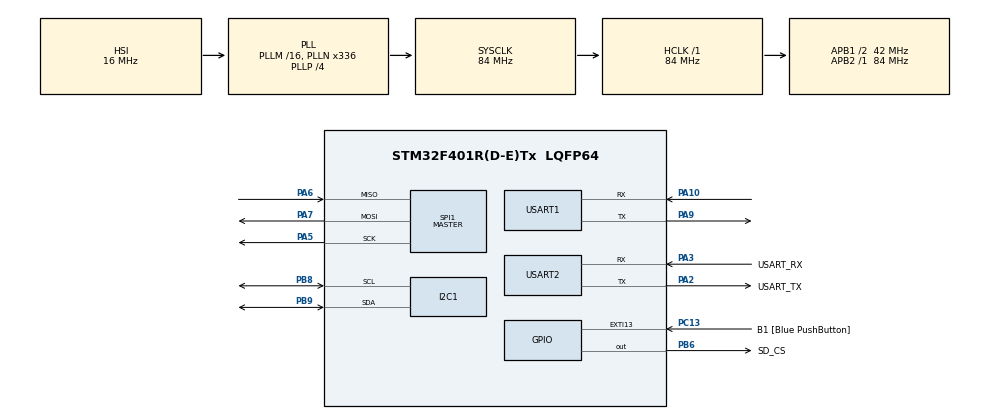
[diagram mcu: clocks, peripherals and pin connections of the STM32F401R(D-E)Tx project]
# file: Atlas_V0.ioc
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FREERTOS.Tasks01=AtlasTask,24,512,StartAtlasTask,Default,NULL,Dynamic,NULL,NULL;IMUTask,32,256,StartIMUTask,Default,NULL,Dynamic,NULL,NULL;LoggerTask,8,512,StartLoggerTask,Default,NULL,Dynamic,NULL,NULL
Mcu.Family=STM32F4
Mcu.Name=STM32F401R(D-E)Tx
Mcu.Package=LQFP64
NVIC.PriorityGroup=NVIC_PRIORITYGROUP_4
NVIC.USART2_IRQn=true\:5\:0\:false\:false\:true\:true\:true\:true\:true
PA10.Mode=Asynchronous
PA10.Signal=USART1_RX
PA13.GPIO_Label=TMS
PA13.Mode=Trace_Asynchronous_SW
PA13.Signal=SYS_JTMS-SWDIO
PA14.GPIO_Label=TCK
PA14.Mode=Trace_Asynchronous_SW
PA14.Signal=SYS_JTCK-SWCLK
PA2.GPIO_Label=USART_TX
PA2.GPIO_Mode=GPIO_MODE_AF_PP
PA2.GPIO_PuPd=GPIO_NOPULL
PA2.GPIO_Speed=GPIO_SPEED_FREQ_LOW
PA2.Mode=Asynchronous
PA2.Signal=USART2_TX
PA3.GPIO_Label=USART_RX
PA3.GPIO_Mode=GPIO_MODE_AF_PP
PA3.GPIO_PuPd=GPIO_NOPULL
PA3.GPIO_Speed=GPIO_SPEED_FREQ_LOW
PA3.Mode=Asynchronous
PA3.Signal=USART2_RX
PA5.Mode=Full_Duplex_Master
PA5.Signal=SPI1_SCK
PA6.Mode=Full_Duplex_Master
PA6.Signal=SPI1_MISO
PA7.Mode=Full_Duplex_Master
PA7.Signal=SPI1_MOSI
PA9.Mode=Asynchronous
PA9.Signal=USART1_TX
PB3.GPIO_Label=SWO
PB3.Mode=Trace_Asynchronous_SW
PB3.Signal=SYS_JTDO-SWO
PB6.GPIO_Label=SD_CS
PB6.PinState=GPIO_PIN_SET
PB6.Signal=GPIO_Output
PB8.Mode=I2C
PB8.Signal=I2C1_SCL
PB9.Mode=I2C
PB9.Signal=I2C1_SDA
PC13-ANTI_TAMP.GPIO_Label=B1 [Blue PushButton]
PC13-ANTI_TAMP.GPIO_ModeDefaultEXTI=GPIO_MODE_IT_FALLING
PC13-ANTI_TAMP.GPIO_PuPd=GPIO_NOPULL
PC13-ANTI_TAMP.Signal=GPXTI13
PC14-OSC32_IN.Mode=LSE-External-Oscillator
PC14-OSC32_IN.Signal=RCC_OSC32_IN
PC15-OSC32_OUT.Mode=LSE-External-Oscillator
PC15-OSC32_OUT.Signal=RCC_OSC32_OUT
PH0\ -\ OSC_IN.Mode=HSE-External-Clock-Source
PH0\ -\ OSC_IN.Signal=RCC_OSC_IN
PH1\ -\ OSC_OUT.Mode=HSE-External-Clock-Source
PH1\ -\ OSC_OUT.Signal=RCC_OSC_OUT
ProjectManager.HeapSize=0x200
ProjectManager.StackSize=0x400
ProjectManager.TargetToolchain=STM32CubeIDE
RCC.48MHZClocksFreq_Value=48000000
RCC.AHBFreq_Value=84000000
RCC.APB1CLKDivider=RCC_HCLK_DIV2
RCC.APB1Freq_Value=42000000
RCC.APB1TimFreq_Value=84000000
RCC.APB2Freq_Value=84000000
RCC.APB2TimFreq_Value=84000000
RCC.CortexFreq_Value=84000000
RCC.HCLKFreq_Value=84000000
RCC.HSE_VALUE=8000000
RCC.HSI_VALUE=16000000
RCC.PLLN=336
RCC.PLLP=RCC_PLLP_DIV4
RCC.PLLQ=7
RCC.SYSCLKFreq_VALUE=84000000
RCC.SYSCLKSource=RCC_SYSCLKSOURCE_PLLCLK
RCC.VCOOutputFreq_Value=336000000
SPI1.BaudRatePrescaler=SPI_BAUDRATEPRESCALER_256
SPI1.Direction=SPI_DIRECTION_2LINES
SPI1.Mode=SPI_MODE_MASTER
SPI1.VirtualType=VM_MASTER
USART1.VirtualMode=VM_ASYNC
USART2.VirtualMode=VM_ASYNC
VP_FATFS_VS_Generic.Mode=User_defined
VP_FREERTOS_VS_CMSIS_V2.Mode=CMSIS_V2
board=NUCLEO-F401RE

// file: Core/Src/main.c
/* USER CODE BEGIN Header */
/**
  ******************************************************************************
  * @file           : main.c
  * @brief          : Main program body
  ******************************************************************************
  * @attention
  *
  * Copyright (c) 2026 STMicroelectronics.
  * All rights reserved.
  *
  * This software is licensed under terms that can be found in the LICENSE file
  * in the root directory of this software component.
  * If no LICENSE file comes with this software, it is provided AS-IS.
  *
  ******************************************************************************
  */
/* USER CODE END Header */
#include "main.h"
#include "cmsis_os.h"
#include "fatfs.h"

/* USER CODE BEGIN Includes */
#include "atlas.h"
#include "imu.h"
#include "rtos_data.h"
#include "storage.h"
#include "telemetry.h"
#include <stdio.h>
#include "gps.h"
/* USER CODE END Includes */

I2C_HandleTypeDef hi2c1;

SPI_HandleTypeDef hspi1;

UART_HandleTypeDef huart1;
UART_HandleTypeDef huart2;

/* Definitions for AtlasTask */
osThreadId_t AtlasTaskHandle;
const osThreadAttr_t AtlasTask_attributes = {
  .name = "AtlasTask",
  .stack_size = 512 * 4,
  .priority = (osPriority_t) osPriorityNormal,
};
/* Definitions for IMUTask */
osThreadId_t IMUTaskHandle;
const osThreadAttr_t IMUTask_attributes = {
  .name = "IMUTask",
  .stack_size = 256 * 4,
  .priority = (osPriority_t) osPriorityAboveNormal,
};
/* Definitions for LoggerTask */
osThreadId_t LoggerTaskHandle;
const osThreadAttr_t LoggerTask_attributes = {
  .name = "LoggerTask",
  .stack_size = 512 * 4,
  .priority = (osPriority_t) osPriorityLow,
};
/* USER CODE BEGIN PV */
static IMU_Data rtos_imu_data;
/* USER CODE END PV */

void SystemClock_Config(void);
static void MX_GPIO_Init(void);
static void MX_USART2_UART_Init(void);
static void MX_I2C1_Init(void);
static void MX_SPI1_Init(void);
static void MX_USART1_UART_Init(void);
void StartAtlasTask(void *argument);
void StartIMUTask(void *argument);
void StartLoggerTask(void *argument);

int main(void)
{

  /* MCU Configuration--------------------------------------------------------*/

  /* Reset of all peripherals, Initializes the Flash interface and the Systick. */
  HAL_Init();

  /* Configure the system clock */
  SystemClock_Config();

  /* Initialize all configured peripherals */
  MX_GPIO_Init();
  MX_USART2_UART_Init();
  MX_I2C1_Init();
  MX_SPI1_Init();
  MX_FATFS_Init();
  MX_USART1_UART_Init();
  GPS_Init(&huart1);
  /* USER CODE BEGIN 2 */

  if (Atlas_Init(&hi2c1, &huart2) != HAL_OK)
  {
      Error_Handler();
  }

  /* USER CODE END 2 */

  /* Init scheduler */
  osKernelInitialize();

  /* Create the thread(s) */
  /* creation of AtlasTask */
  AtlasTaskHandle = osThreadNew(StartAtlasTask, NULL, &AtlasTask_attributes);

  /* creation of IMUTask */
  IMUTaskHandle = osThreadNew(StartIMUTask, NULL, &IMUTask_attributes);

  /* creation of LoggerTask */
  LoggerTaskHandle = osThreadNew(StartLoggerTask, NULL, &LoggerTask_attributes);

  /* Start scheduler */
  osKernelStart();

  /* We should never get here as control is now taken by the scheduler */

  /* Infinite loop */
  while (1)
  {

  }
}

void SystemClock_Config(void)
{
  RCC_OscInitTypeDef RCC_OscInitStruct = {0};
  RCC_ClkInitTypeDef RCC_ClkInitStruct = {0};

  /** Configure the main internal regulator output voltage
  */
  __HAL_RCC_PWR_CLK_ENABLE();
  __HAL_PWR_VOLTAGESCALING_CONFIG(PWR_REGULATOR_VOLTAGE_SCALE2);

  /** Initializes the RCC Oscillators according to the specified parameters
  * in the RCC_OscInitTypeDef structure.
  */
  RCC_OscInitStruct.OscillatorType = RCC_OSCILLATORTYPE_HSI;
  RCC_OscInitStruct.HSIState = RCC_HSI_ON;
  RCC_OscInitStruct.HSICalibrationValue = RCC_HSICALIBRATION_DEFAULT;
  RCC_OscInitStruct.PLL.PLLState = RCC_PLL_ON;
  RCC_OscInitStruct.PLL.PLLSource = RCC_PLLSOURCE_HSI;
  RCC_OscInitStruct.PLL.PLLM = 16;
  RCC_OscInitStruct.PLL.PLLN = 336;
  RCC_OscInitStruct.PLL.PLLP = RCC_PLLP_DIV4;
  RCC_OscInitStruct.PLL.PLLQ = 7;
  if (HAL_RCC_OscConfig(&RCC_OscInitStruct) != HAL_OK)
  {
    Error_Handler();
  }

  /** Initializes the CPU, AHB and APB buses clocks
  */
  RCC_ClkInitStruct.ClockType = RCC_CLOCKTYPE_HCLK|RCC_CLOCKTYPE_SYSCLK
                              |RCC_CLOCKTYPE_PCLK1|RCC_CLOCKTYPE_PCLK2;
  RCC_ClkInitStruct.SYSCLKSource = RCC_SYSCLKSOURCE_PLLCLK;
  RCC_ClkInitStruct.AHBCLKDivider = RCC_SYSCLK_DIV1;
  RCC_ClkInitStruct.APB1CLKDivider = RCC_HCLK_DIV2;
  RCC_ClkInitStruct.APB2CLKDivider = RCC_HCLK_DIV1;

  if (HAL_RCC_ClockConfig(&RCC_ClkInitStruct, FLASH_LATENCY_2) != HAL_OK)
  {
    Error_Handler();
  }
}

static void MX_I2C1_Init(void)
{

  hi2c1.Instance = I2C1;
  hi2c1.Init.ClockSpeed = 100000;
  hi2c1.Init.DutyCycle = I2C_DUTYCYCLE_2;
  hi2c1.Init.OwnAddress1 = 0;
  hi2c1.Init.AddressingMode = I2C_ADDRESSINGMODE_7BIT;
  hi2c1.Init.DualAddressMode = I2C_DUALADDRESS_DISABLE;
  hi2c1.Init.OwnAddress2 = 0;
  hi2c1.Init.GeneralCallMode = I2C_GENERALCALL_DISABLE;
  hi2c1.Init.NoStretchMode = I2C_NOSTRETCH_DISABLE;
  if (HAL_I2C_Init(&hi2c1) != HAL_OK)
  {
    Error_Handler();
  }

}

static void MX_SPI1_Init(void)
{

  /* SPI1 parameter configuration*/
  hspi1.Instance = SPI1;
  hspi1.Init.Mode = SPI_MODE_MASTER;
  hspi1.Init.Direction = SPI_DIRECTION_2LINES;
  hspi1.Init.DataSize = SPI_DATASIZE_8BIT;
  hspi1.Init.CLKPolarity = SPI_POLARITY_LOW;
  hspi1.Init.CLKPhase = SPI_PHASE_1EDGE;
  hspi1.Init.NSS = SPI_NSS_SOFT;
  hspi1.Init.BaudRatePrescaler = SPI_BAUDRATEPRESCALER_256;
  hspi1.Init.FirstBit = SPI_FIRSTBIT_MSB;
  hspi1.Init.TIMode = SPI_TIMODE_DISABLE;
  hspi1.Init.CRCCalculation = SPI_CRCCALCULATION_DISABLE;
  hspi1.Init.CRCPolynomial = 10;
  if (HAL_SPI_Init(&hspi1) != HAL_OK)
  {
    Error_Handler();
  }

}

static void MX_USART1_UART_Init(void)
{

  huart1.Instance = USART1;
  huart1.Init.BaudRate = 115200;
  huart1.Init.WordLength = UART_WORDLENGTH_8B;
  huart1.Init.StopBits = UART_STOPBITS_1;
  huart1.Init.Parity = UART_PARITY_NONE;
  huart1.Init.Mode = UART_MODE_TX_RX;
  huart1.Init.HwFlowCtl = UART_HWCONTROL_NONE;
  huart1.Init.OverSampling = UART_OVERSAMPLING_16;
  if (HAL_UART_Init(&huart1) != HAL_OK)
  {
    Error_Handler();
  }

}

static void MX_USART2_UART_Init(void)
{

  huart2.Instance = USART2;
  huart2.Init.BaudRate = 115200;
  huart2.Init.WordLength = UART_WORDLENGTH_8B;
  huart2.Init.StopBits = UART_STOPBITS_1;
  huart2.Init.Parity = UART_PARITY_NONE;
  huart2.Init.Mode = UART_MODE_TX_RX;
  huart2.Init.HwFlowCtl = UART_HWCONTROL_NONE;
  huart2.Init.OverSampling = UART_OVERSAMPLING_16;
  if (HAL_UART_Init(&huart2) != HAL_OK)
  {
    Error_Handler();
  }

}

static void MX_GPIO_Init(void)
{
  GPIO_InitTypeDef GPIO_InitStruct = {0};

  /* GPIO Ports Clock Enable */
  __HAL_RCC_GPIOC_CLK_ENABLE();
  __HAL_RCC_GPIOH_CLK_ENABLE();
  __HAL_RCC_GPIOA_CLK_ENABLE();
  __HAL_RCC_GPIOB_CLK_ENABLE();

  /*Configure GPIO pin Output Level */
  HAL_GPIO_WritePin(SD_CS_GPIO_Port, SD_CS_Pin, GPIO_PIN_SET);

  /*Configure GPIO pin : B1_Pin */
  GPIO_InitStruct.Pin = B1_Pin;
  GPIO_InitStruct.Mode = GPIO_MODE_IT_FALLING;
  GPIO_InitStruct.Pull = GPIO_NOPULL;
  HAL_GPIO_Init(B1_GPIO_Port, &GPIO_InitStruct);

  /*Configure GPIO pin : SD_CS_Pin */
  GPIO_InitStruct.Pin = SD_CS_Pin;
  GPIO_InitStruct.Mode = GPIO_MODE_OUTPUT_PP;
  GPIO_InitStruct.Pull = GPIO_NOPULL;
  GPIO_InitStruct.Speed = GPIO_SPEED_FREQ_LOW;
  HAL_GPIO_Init(SD_CS_GPIO_Port, &GPIO_InitStruct);

}

void StartAtlasTask(void *argument)
{
  /* USER CODE BEGIN 5 */
	char gps_line[128];
  /* Infinite loop */
  for(;;)
  {
	  Atlas_Update();
	  uint8_t gps_byte;
	  char gps_debug[32];

	  if (HAL_UART_Receive(
	          &huart1,
	          &gps_byte,
	          1,
	          200
	      ) == HAL_OK)
	  {
	      snprintf(
	          gps_debug,
	          sizeof(gps_debug),
	          "GPS BYTE: 0x%02X '%c'\r\n",
	          gps_byte,
	          (gps_byte >= 32 && gps_byte <= 126)
	              ? gps_byte
	              : '.'
	      );

	      Telemetry_SendText(gps_debug);
	  }

	  osDelay(100);
  }
  /* USER CODE END 5 */
}

void StartIMUTask(void *argument)
{
  for(;;)
  {
    osDelay(1);
  }
}

void StartLoggerTask(void *argument)
{
  for(;;)
  {
    osDelay(1);
  }
}

void Error_Handler(void)
{
  __disable_irq();
  while (1)
  {
  }
}
